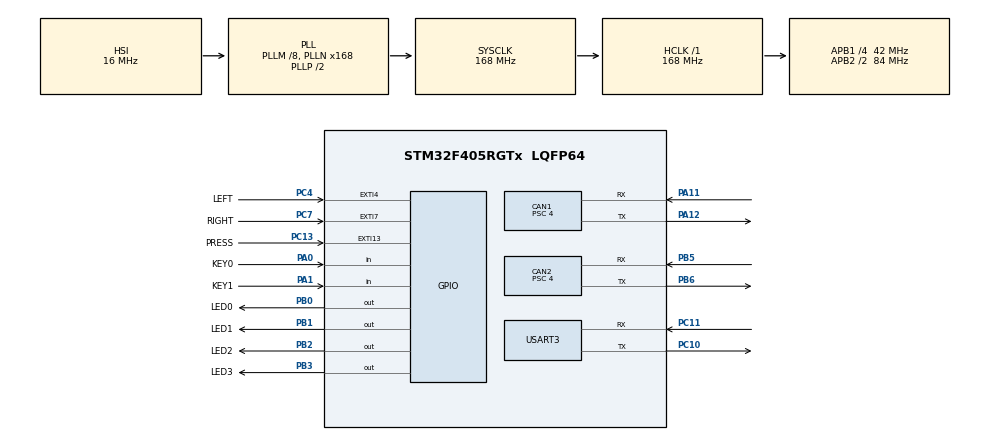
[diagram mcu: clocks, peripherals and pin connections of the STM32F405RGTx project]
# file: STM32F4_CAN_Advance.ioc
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CAN1.BS1=CAN_BS1_16TQ
CAN1.BS2=CAN_BS2_4TQ
CAN1.CalculateBaudRate=500000
CAN1.CalculateTimeBit=2000
CAN1.CalculateTimeQuantum=95.23809523809524
CAN1.Prescaler=4
CAN1.SJW=CAN_SJW_2TQ
CAN2.BS1=CAN_BS1_16TQ
CAN2.BS2=CAN_BS2_4TQ
CAN2.CalculateBaudRate=500000
CAN2.CalculateTimeBit=2000
CAN2.CalculateTimeQuantum=95.23809523809524
CAN2.Prescaler=4
CAN2.SJW=CAN_SJW_2TQ
FREERTOS.Tasks01=defaultTask,24,128,StartDefaultTask,Default,NULL,Dynamic,NULL,NULL;CAN_Tester_Task,24,128,CAN_Tester,Default,NULL,Dynamic,NULL,NULL;CAN_ECU_Task,40,128,CAN_ECU,Default,NULL,Dynamic,NULL,NULL
Mcu.Family=STM32F4
Mcu.Name=STM32F405RGTx
Mcu.Package=LQFP64
NVIC.CAN1_RX0_IRQn=true\:5\:0\:false\:false\:true\:true\:true\:true\:true
NVIC.CAN2_RX1_IRQn=true\:5\:0\:false\:false\:true\:true\:true\:true\:true
NVIC.EXTI4_IRQn=true\:5\:0\:false\:false\:true\:true\:true\:true\:true
NVIC.EXTI9_5_IRQn=true\:5\:0\:false\:false\:true\:true\:true\:true\:true
NVIC.PriorityGroup=NVIC_PRIORITYGROUP_4
NVIC.TIM3_IRQn=true\:5\:0\:false\:false\:true\:true\:true\:true\:true
NVIC.USART3_IRQn=true\:5\:0\:false\:false\:true\:true\:true\:true\:true
PA0-WKUP.GPIO_Label=KEY0
PA0-WKUP.Signal=GPIO_Input
PA1.GPIO_Label=KEY1
PA1.Signal=GPIO_Input
PA11.Mode=CAN_Activate
PA11.Signal=CAN1_RX
PA12.Mode=CAN_Activate
PA12.Signal=CAN1_TX
PB0.GPIO_Label=LED0
PB0.Signal=GPIO_Output
PB1.GPIO_Label=LED1
PB1.Signal=GPIO_Output
PB2.GPIO_Label=LED2
PB2.Signal=GPIO_Output
PB3.GPIO_Label=LED3
PB3.Signal=GPIO_Output
PB5.Mode=CAN_Activate
PB5.Signal=CAN2_RX
PB6.Mode=CAN_Activate
PB6.Signal=CAN2_TX
PC10.Mode=Asynchronous
PC10.Signal=USART3_TX
PC11.Mode=Asynchronous
PC11.Signal=USART3_RX
PC13-ANTI_TAMP.GPIO_Label=PRESS
PC13-ANTI_TAMP.GPIO_ModeDefaultEXTI=GPIO_MODE_IT_FALLING
PC13-ANTI_TAMP.GPIO_PuPd=GPIO_PULLUP
PC13-ANTI_TAMP.Signal=GPXTI13
PC14-OSC32_IN.Mode=LSE-External-Oscillator
PC14-OSC32_IN.Signal=RCC_OSC32_IN
PC15-OSC32_OUT.Mode=LSE-External-Oscillator
PC15-OSC32_OUT.Signal=RCC_OSC32_OUT
PC4.GPIO_Label=LEFT
PC4.GPIO_ModeDefaultEXTI=GPIO_MODE_IT_FALLING
PC4.GPIO_PuPd=GPIO_PULLUP
PC4.Signal=GPXTI4
PC7.GPIO_Label=RIGHT
PC7.GPIO_ModeDefaultEXTI=GPIO_MODE_IT_FALLING
PC7.GPIO_PuPd=GPIO_PULLUP
PC7.Signal=GPXTI7
PH0-OSC_IN.Mode=HSE-External-Oscillator
PH0-OSC_IN.Signal=RCC_OSC_IN
PH1-OSC_OUT.Mode=HSE-External-Oscillator
PH1-OSC_OUT.Signal=RCC_OSC_OUT
ProjectManager.HeapSize=0x200
ProjectManager.StackSize=0x400
ProjectManager.TargetToolchain=STM32CubeIDE
RCC.48MHZClocksFreq_Value=84000000
RCC.AHBFreq_Value=168000000
RCC.APB1CLKDivider=RCC_HCLK_DIV4
RCC.APB1Freq_Value=42000000
RCC.APB1TimFreq_Value=84000000
RCC.APB2CLKDivider=RCC_HCLK_DIV2
RCC.APB2Freq_Value=84000000
RCC.APB2TimFreq_Value=168000000
RCC.CortexFreq_Value=168000000
RCC.HCLKFreq_Value=168000000
RCC.HSE_VALUE=8000000
RCC.HSI_VALUE=16000000
RCC.PLLM=8
RCC.PLLN=168
RCC.SYSCLKFreq_VALUE=168000000
RCC.SYSCLKSource=RCC_SYSCLKSOURCE_PLLCLK
RCC.VCOOutputFreq_Value=336000000
TIM3.AutoReloadPreload=TIM_AUTORELOAD_PRELOAD_ENABLE
TIM3.Period=10000
TIM3.Prescaler=16799
USART3.VirtualMode=VM_ASYNC
VP_FREERTOS_VS_CMSIS_V2.Mode=CMSIS_V2
VP_TIM3_VS_ClockSourceINT.Mode=Internal
board=custom

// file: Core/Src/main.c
/* USER CODE BEGIN Header */
/**
  ******************************************************************************
  * @file           : main.c
  * @brief          : Main program body
  ******************************************************************************
  * @attention
  *
  * Copyright (c) 2022 STMicroelectronics.
  * All rights reserved.
  *
  * This software is licensed under terms that can be found in the LICENSE file
  * in the root directory of this software component.
  * If no LICENSE file comes with this software, it is provided AS-IS.
  *
  ******************************************************************************
  */
/* USER CODE END Header */
#include "main.h"
#include "cmsis_os.h"

/* USER CODE BEGIN Includes */
#include <stdio.h>
#include <string.h>
/* USER CODE END Includes */

/* USER CODE BEGIN PD */
uint8_t Empty;

#define ReadDatabyIdentifier 0x22
#define WriteDatabyIdentifier 0x2e
#define HexaMessage 0
#define HelloMessage 1
#define RequestMessage 2

/* USER CODE END PD */

/* USER CODE BEGIN PM */
CAN_TxHeaderTypeDef Node1_TxHeader;
CAN_RxHeaderTypeDef Node1_RxHeader;

uint8_t Node1_TxData[8];
uint8_t Node1_RxData[8];

uint32_t Node1_TxMailbox;

CAN_TxHeaderTypeDef Node2_TxHeader;
CAN_RxHeaderTypeDef Node2_RxHeader;

uint8_t Node2_TxData[8];
uint8_t Node2_RxData[8];

uint32_t Node2_TxMailbox;

uint8_t Node2_Data[6] = "Hello!";

CAN_TxHeaderTypeDef Request_TxHeader;
uint8_t Request_TxData;
/* USER CODE END PM */

CAN_HandleTypeDef hcan1;
CAN_HandleTypeDef hcan2;

TIM_HandleTypeDef htim3;

UART_HandleTypeDef huart3;

/* Definitions for defaultTask */
osThreadId_t defaultTaskHandle;
const osThreadAttr_t defaultTask_attributes = {
  .name = "defaultTask",
  .stack_size = 128 * 4,
  .priority = (osPriority_t) osPriorityNormal,
};
/* Definitions for CAN_Tester_Task */
osThreadId_t CAN_Tester_TaskHandle;
const osThreadAttr_t CAN_Tester_Task_attributes = {
  .name = "CAN_Tester_Task",
  .stack_size = 128 * 4,
  .priority = (osPriority_t) osPriorityNormal,
};
/* Definitions for CAN_ECU_Task */
osThreadId_t CAN_ECU_TaskHandle;
const osThreadAttr_t CAN_ECU_Task_attributes = {
  .name = "CAN_ECU_Task",
  .stack_size = 128 * 4,
  .priority = (osPriority_t) osPriorityHigh,
};

void SystemClock_Config(void);
static void MX_GPIO_Init(void);
static void MX_CAN1_Init(void);
static void MX_CAN2_Init(void);
static void MX_TIM3_Init(void);
static void MX_USART3_UART_Init(void);
void StartDefaultTask(void *argument);
void CAN_Tester(void *argument);
void CAN_ECU(void *argument);

/* USER CODE BEGIN PFP */
#ifdef __GNUC__
/* With GCC/RAISONANCE, small printf (option LD Linker->Libraries->Small printf
 set to 'Yes') calls __io_putchar() */
#define PUTCHAR_PROTOTYPE int __io_putchar(int ch)
#else
 #define PUTCHAR_PROTOTYPE int fputc(int ch, FILE *f)
#endif /* __GNUC__ */
/* USER CODE END PFP */

/* USER CODE BEGIN 0 */
void HAL_CAN_RxFifo0MsgPendingCallback(CAN_HandleTypeDef *hcan)
{
  HAL_GPIO_WritePin(LED1_GPIO_Port, LED1_Pin, GPIO_PIN_SET);
  HAL_CAN_GetRxMessage(hcan, CAN_RX_FIFO0, &Node1_RxHeader, Node1_RxData);
  if (Node1_RxHeader.DLC == 8)
  {
    printf("Node1 get data: %s\r\n", Node1_RxData);
    HAL_GPIO_WritePin(LED1_GPIO_Port, LED1_Pin, GPIO_PIN_RESET);
  }
}

void HAL_CAN_RxFifo1MsgPendingCallback(CAN_HandleTypeDef *hcan)
{
  HAL_GPIO_WritePin(LED2_GPIO_Port, LED2_Pin, GPIO_PIN_SET);
  HAL_CAN_GetRxMessage(hcan, CAN_RX_FIFO1, &Node2_RxHeader, Node2_RxData);
  if (Node2_RxHeader.DLC == 8)
  {
	  if(Node2_RxData[0] == ReadDatabyIdentifier)
	  {
		  if(Node2_RxData[7] == HelloMessage)
		  {
			printf("%s", Node2_Data);
		  }
		  else
		{
			for(int i=0; i< 6; i++)
			{
				printf("%x ", Node2_Data[i]);
			}
		}
		printf("\r\n");
	  }

	  if(Node2_RxData[0] == WriteDatabyIdentifier)
	  {
		  for(int i=1; i< 7; i++)
		  {
			  Node2_Data[i - 1] = Node2_RxData[i];
		  }
	  }
    HAL_GPIO_WritePin(LED2_GPIO_Port, LED2_Pin, GPIO_PIN_RESET);
  }
}

void HAL_TIM_PeriodElapsedCallback(TIM_HandleTypeDef *htim)
{
	UNUSED(htim);
	HAL_GPIO_TogglePin(LED0_GPIO_Port, LED0_Pin);
	Node1_TxData[0] = ReadDatabyIdentifier;
	HAL_CAN_AddTxMessage(&hcan1, &Node1_TxHeader, Node1_TxData,
				  &Node1_TxMailbox);
}

void HAL_GPIO_EXTI_Callback(uint16_t GPIO_Pin)
{
  if(GPIO_Pin == LEFT_Pin)
  {
	  Node1_TxData[0] = WriteDatabyIdentifier;
	  Node1_TxData[1] = 0xaa;
	  Node1_TxData[2] = 0xaa;
	  Node1_TxData[3] = 0xaa;
	  Node1_TxData[4] = 0xaa;
	  Node1_TxData[5] = 0xaa;
	  Node1_TxData[6] = 0xaa;
	  Node1_TxData[7] = HexaMessage;
	  HAL_CAN_AddTxMessage(&hcan1, &Node1_TxHeader, Node1_TxData,
	  				  &Node1_TxMailbox);
  }else if(GPIO_Pin == RIGHT_Pin)
  {
	  Node1_TxData[0] = WriteDatabyIdentifier;
	  Node1_TxData[1] = 0xff;
	  Node1_TxData[2] = 0xff;
	  Node1_TxData[3] = 0xff;
	  Node1_TxData[4] = 0xff;
	  Node1_TxData[5] = 0xff;
	  Node1_TxData[6] = 0xff;
	  Node1_TxData[7] = HexaMessage;
	  HAL_CAN_AddTxMessage(&hcan1, &Node1_TxHeader, Node1_TxData,
					  &Node1_TxMailbox);
  }else if(GPIO_Pin == PRESS_Pin)
  {
	  Node1_TxData[0] = WriteDatabyIdentifier;
	  Node1_TxData[1] = 0x00;
	  Node1_TxData[2] = 0x00;
	  Node1_TxData[3] = 0x00;
	  Node1_TxData[4] = 0x00;
	  Node1_TxData[5] = 0x00;
	  Node1_TxData[6] = 0x00;
	  Node1_TxData[7] = HexaMessage;
	  HAL_CAN_AddTxMessage(&hcan1, &Node1_TxHeader, Node1_TxData,
					  &Node1_TxMailbox);
  }
}
/* USER CODE END 0 */

int main(void)
{

  /* MCU Configuration--------------------------------------------------------*/

  /* Reset of all peripherals, Initializes the Flash interface and the Systick. */
  HAL_Init();

  /* Configure the system clock */
  SystemClock_Config();

  /* Initialize all configured peripherals */
  MX_GPIO_Init();
  MX_CAN1_Init();
  MX_CAN2_Init();
  MX_TIM3_Init();
  MX_USART3_UART_Init();
  /* USER CODE BEGIN 2 */
  HAL_CAN_Start(&hcan1);
    HAL_CAN_Start(&hcan2);

    // Activate the notification
    HAL_CAN_ActivateNotification(&hcan1, CAN_IT_RX_FIFO0_MSG_PENDING);
    // Activate the notification
    HAL_CAN_ActivateNotification(&hcan2, CAN_IT_RX_FIFO1_MSG_PENDING);

    Node1_TxHeader.DLC = 8;  // data length
    Node1_TxHeader.IDE = CAN_ID_STD;
    Node1_TxHeader.RTR = CAN_RTR_DATA;
    Node1_TxHeader.StdId = 0x555;  // ID

    Node1_TxData[0] = 0x00;
    Node1_TxData[1] = 'H';
    Node1_TxData[2] = 'e';
    Node1_TxData[3] = 'l';
    Node1_TxData[4] = 'l';
    Node1_TxData[5] = 'o';
    Node1_TxData[6] = '!';
    Node1_TxData[7] = HelloMessage;

    Node2_TxHeader.DLC = 8;  // data length
    Node2_TxHeader.IDE = CAN_ID_STD;
    Node2_TxHeader.RTR = CAN_RTR_DATA;
    Node2_TxHeader.StdId = 0x2AA;  // ID

    Node2_TxData[0] = 'N';
    Node2_TxData[1] = '0';
    Node2_TxData[2] = '0';
    Node2_TxData[3] = 'b';
    Node2_TxData[4] = 'B';
    Node2_TxData[5] = 'y';
    Node2_TxData[6] = 'e';
    Node2_TxData[7] = '!';

    Request_TxHeader.DLC = 1;  // data length
	Request_TxHeader.IDE = CAN_ID_STD;
	Request_TxHeader.RTR = CAN_RTR_DATA;
	Request_TxHeader.StdId = 0x555;  // ID

	Request_TxData = 0x00;

	HAL_TIM_Base_Start_IT(&htim3);
  /* USER CODE END 2 */

  /* Init scheduler */
  osKernelInitialize();

  /* Create the thread(s) */
  /* creation of defaultTask */
  defaultTaskHandle = osThreadNew(StartDefaultTask, NULL, &defaultTask_attributes);

  /* creation of CAN_Tester_Task */
  CAN_Tester_TaskHandle = osThreadNew(CAN_Tester, NULL, &CAN_Tester_Task_attributes);

  /* creation of CAN_ECU_Task */
  CAN_ECU_TaskHandle = osThreadNew(CAN_ECU, NULL, &CAN_ECU_Task_attributes);

  /* Start scheduler */
  osKernelStart();

  /* We should never get here as control is now taken by the scheduler */
  /* Infinite loop */
  /* USER CODE BEGIN WHILE */
  while (1)
  {
//	  HAL_GPIO_TogglePin(LED1_GPIO_Port, LED0_Pin);
//	      HAL_CAN_AddTxMessage(&hcan1, &Node1_TxHeader, Node1_TxData,
//	          &Node1_TxMailbox);
//	      HAL_CAN_AddTxMessage(&hcan2, &Node2_TxHeader, Node2_TxData,
//	          &Node2_TxMailbox);
	      HAL_Delay(500);
    /* USER CODE END WHILE */

  }
}

void SystemClock_Config(void)
{
  RCC_OscInitTypeDef RCC_OscInitStruct = {0};
  RCC_ClkInitTypeDef RCC_ClkInitStruct = {0};

  /** Configure the main internal regulator output voltage
  */
  __HAL_RCC_PWR_CLK_ENABLE();
  __HAL_PWR_VOLTAGESCALING_CONFIG(PWR_REGULATOR_VOLTAGE_SCALE1);

  /** Initializes the RCC Oscillators according to the specified parameters
  * in the RCC_OscInitTypeDef structure.
  */
  RCC_OscInitStruct.OscillatorType = RCC_OSCILLATORTYPE_HSI;
  RCC_OscInitStruct.HSIState = RCC_HSI_ON;
  RCC_OscInitStruct.HSICalibrationValue = RCC_HSICALIBRATION_DEFAULT;
  RCC_OscInitStruct.PLL.PLLState = RCC_PLL_ON;
  RCC_OscInitStruct.PLL.PLLSource = RCC_PLLSOURCE_HSI;
  RCC_OscInitStruct.PLL.PLLM = 8;
  RCC_OscInitStruct.PLL.PLLN = 168;
  RCC_OscInitStruct.PLL.PLLP = RCC_PLLP_DIV2;
  RCC_OscInitStruct.PLL.PLLQ = 4;
  if (HAL_RCC_OscConfig(&RCC_OscInitStruct) != HAL_OK)
  {
    Error_Handler();
  }

  /** Initializes the CPU, AHB and APB buses clocks
  */
  RCC_ClkInitStruct.ClockType = RCC_CLOCKTYPE_HCLK|RCC_CLOCKTYPE_SYSCLK
                              |RCC_CLOCKTYPE_PCLK1|RCC_CLOCKTYPE_PCLK2;
  RCC_ClkInitStruct.SYSCLKSource = RCC_SYSCLKSOURCE_PLLCLK;
  RCC_ClkInitStruct.AHBCLKDivider = RCC_SYSCLK_DIV1;
  RCC_ClkInitStruct.APB1CLKDivider = RCC_HCLK_DIV4;
  RCC_ClkInitStruct.APB2CLKDivider = RCC_HCLK_DIV2;

  if (HAL_RCC_ClockConfig(&RCC_ClkInitStruct, FLASH_LATENCY_5) != HAL_OK)
  {
    Error_Handler();
  }
}

static void MX_CAN1_Init(void)
{

  hcan1.Instance = CAN1;
  hcan1.Init.Prescaler = 4;
  hcan1.Init.Mode = CAN_MODE_NORMAL;
  hcan1.Init.SyncJumpWidth = CAN_SJW_2TQ;
  hcan1.Init.TimeSeg1 = CAN_BS1_16TQ;
  hcan1.Init.TimeSeg2 = CAN_BS2_4TQ;
  hcan1.Init.TimeTriggeredMode = DISABLE;
  hcan1.Init.AutoBusOff = DISABLE;
  hcan1.Init.AutoWakeUp = DISABLE;
  hcan1.Init.AutoRetransmission = DISABLE;
  hcan1.Init.ReceiveFifoLocked = DISABLE;
  hcan1.Init.TransmitFifoPriority = DISABLE;
  if (HAL_CAN_Init(&hcan1) != HAL_OK)
  {
    Error_Handler();
  }
  /* USER CODE BEGIN CAN1_Init 2 */
  	CAN_FilterTypeDef canfilterconfig;

    canfilterconfig.FilterActivation = CAN_FILTER_ENABLE;
    canfilterconfig.FilterBank = 18; // which filter bank to use from the assigned ones
    canfilterconfig.FilterFIFOAssignment = CAN_FILTER_FIFO0;
    canfilterconfig.FilterIdHigh = 0x2AA << 5;
    canfilterconfig.FilterIdLow = 0;
    canfilterconfig.FilterMaskIdHigh = 0x2AA << 5;
    canfilterconfig.FilterMaskIdLow = 0x0000;
    canfilterconfig.FilterMode = CAN_FILTERMODE_IDMASK;
    canfilterconfig.FilterScale = CAN_FILTERSCALE_32BIT;
    canfilterconfig.SlaveStartFilterBank = 20; // how many filters to assign to the CAN1 (master can)

    HAL_CAN_ConfigFilter(&hcan1, &canfilterconfig);
  /* USER CODE END CAN1_Init 2 */

}

static void MX_CAN2_Init(void)
{

  hcan2.Instance = CAN2;
  hcan2.Init.Prescaler = 4;
  hcan2.Init.Mode = CAN_MODE_NORMAL;
  hcan2.Init.SyncJumpWidth = CAN_SJW_2TQ;
  hcan2.Init.TimeSeg1 = CAN_BS1_16TQ;
  hcan2.Init.TimeSeg2 = CAN_BS2_4TQ;
  hcan2.Init.TimeTriggeredMode = DISABLE;
  hcan2.Init.AutoBusOff = DISABLE;
  hcan2.Init.AutoWakeUp = DISABLE;
  hcan2.Init.AutoRetransmission = DISABLE;
  hcan2.Init.ReceiveFifoLocked = DISABLE;
  hcan2.Init.TransmitFifoPriority = DISABLE;
  if (HAL_CAN_Init(&hcan2) != HAL_OK)
  {
    Error_Handler();
  }
  /* USER CODE BEGIN CAN2_Init 2 */
  CAN_FilterTypeDef canfilterconfig;

  canfilterconfig.FilterActivation = CAN_FILTER_ENABLE;
  canfilterconfig.FilterBank = 10; // which filter bank to use from the assigned ones
  canfilterconfig.FilterFIFOAssignment = CAN_FILTER_FIFO1;
  canfilterconfig.FilterIdHigh = 0x555 << 5;
  canfilterconfig.FilterIdLow = 0;
  canfilterconfig.FilterMaskIdHigh = 0x555 << 5;
  canfilterconfig.FilterMaskIdLow = 0x0000;
  canfilterconfig.FilterMode = CAN_FILTERMODE_IDMASK;
  canfilterconfig.FilterScale = CAN_FILTERSCALE_32BIT;
  canfilterconfig.SlaveStartFilterBank = 0; // doesn't matter in single can controllers

  HAL_CAN_ConfigFilter(&hcan2, &canfilterconfig);
  /* USER CODE END CAN2_Init 2 */

}

static void MX_TIM3_Init(void)
{

  TIM_ClockConfigTypeDef sClockSourceConfig = {0};
  TIM_MasterConfigTypeDef sMasterConfig = {0};

  htim3.Instance = TIM3;
  htim3.Init.Prescaler = 16799;
  htim3.Init.CounterMode = TIM_COUNTERMODE_UP;
  htim3.Init.Period = 10000;
  htim3.Init.ClockDivision = TIM_CLOCKDIVISION_DIV1;
  htim3.Init.AutoReloadPreload = TIM_AUTORELOAD_PRELOAD_ENABLE;
  if (HAL_TIM_Base_Init(&htim3) != HAL_OK)
  {
    Error_Handler();
  }
  sClockSourceConfig.ClockSource = TIM_CLOCKSOURCE_INTERNAL;
  if (HAL_TIM_ConfigClockSource(&htim3, &sClockSourceConfig) != HAL_OK)
  {
    Error_Handler();
  }
  sMasterConfig.MasterOutputTrigger = TIM_TRGO_RESET;
  sMasterConfig.MasterSlaveMode = TIM_MASTERSLAVEMODE_DISABLE;
  if (HAL_TIMEx_MasterConfigSynchronization(&htim3, &sMasterConfig) != HAL_OK)
  {
    Error_Handler();
  }

}

static void MX_USART3_UART_Init(void)
{

  huart3.Instance = USART3;
  huart3.Init.BaudRate = 115200;
  huart3.Init.WordLength = UART_WORDLENGTH_8B;
  huart3.Init.StopBits = UART_STOPBITS_1;
  huart3.Init.Parity = UART_PARITY_NONE;
  huart3.Init.Mode = UART_MODE_TX_RX;
  huart3.Init.HwFlowCtl = UART_HWCONTROL_NONE;
  huart3.Init.OverSampling = UART_OVERSAMPLING_16;
  if (HAL_UART_Init(&huart3) != HAL_OK)
  {
    Error_Handler();
  }

}

static void MX_GPIO_Init(void)
{
  GPIO_InitTypeDef GPIO_InitStruct = {0};

  /* GPIO Ports Clock Enable */
  __HAL_RCC_GPIOC_CLK_ENABLE();
  __HAL_RCC_GPIOH_CLK_ENABLE();
  __HAL_RCC_GPIOA_CLK_ENABLE();
  __HAL_RCC_GPIOB_CLK_ENABLE();

  /*Configure GPIO pin Output Level */
  HAL_GPIO_WritePin(GPIOB, LED0_Pin|LED1_Pin|LED2_Pin|LED3_Pin, GPIO_PIN_RESET);

  /*Configure GPIO pins : PRESS_Pin LEFT_Pin RIGHT_Pin */
  GPIO_InitStruct.Pin = PRESS_Pin|LEFT_Pin|RIGHT_Pin;
  GPIO_InitStruct.Mode = GPIO_MODE_IT_FALLING;
  GPIO_InitStruct.Pull = GPIO_PULLUP;
  HAL_GPIO_Init(GPIOC, &GPIO_InitStruct);

  /*Configure GPIO pins : KEY0_Pin KEY1_Pin */
  GPIO_InitStruct.Pin = KEY0_Pin|KEY1_Pin;
  GPIO_InitStruct.Mode = GPIO_MODE_INPUT;
  GPIO_InitStruct.Pull = GPIO_NOPULL;
  HAL_GPIO_Init(GPIOA, &GPIO_InitStruct);

  /*Configure GPIO pins : LED0_Pin LED1_Pin LED2_Pin LED3_Pin */
  GPIO_InitStruct.Pin = LED0_Pin|LED1_Pin|LED2_Pin|LED3_Pin;
  GPIO_InitStruct.Mode = GPIO_MODE_OUTPUT_PP;
  GPIO_InitStruct.Pull = GPIO_NOPULL;
  GPIO_InitStruct.Speed = GPIO_SPEED_FREQ_LOW;
  HAL_GPIO_Init(GPIOB, &GPIO_InitStruct);

  /* EXTI interrupt init*/
  HAL_NVIC_SetPriority(EXTI4_IRQn, 5, 0);
  HAL_NVIC_EnableIRQ(EXTI4_IRQn);

  HAL_NVIC_SetPriority(EXTI9_5_IRQn, 5, 0);
  HAL_NVIC_EnableIRQ(EXTI9_5_IRQn);

}

/* USER CODE BEGIN 4 */
PUTCHAR_PROTOTYPE
{
  /* Place your implementation of fputc here */
  /* e.g. write a character to the USART */
  HAL_UART_Transmit(&huart3, (uint8_t*) &ch, 1, 100);
  return ch;
}
/* USER CODE END 4 */

void StartDefaultTask(void *argument)
{
  /* USER CODE BEGIN 5 */
  /* Infinite loop */
  for(;;)
  {
//	HAL_GPIO_TogglePin(LED1_GPIO_Port, LED0_Pin);
//	HAL_CAN_AddTxMessage(&hcan1, &Node1_TxHeader, Node1_TxData,
//	  &Node1_TxMailbox);
//	HAL_CAN_AddTxMessage(&hcan2, &Node2_TxHeader, Node2_TxData,
//	  &Node2_TxMailbox);

	HAL_Delay(500);
    osDelay(1);
  }
  /* USER CODE END 5 */
}

void CAN_Tester(void *argument)
{
  for(;;)
  {
    osDelay(1);
  }
}

void CAN_ECU(void *argument)
{
  for(;;)
  {
    osDelay(1);
  }
}

void Error_Handler(void)
{
  __disable_irq();
  while (1)
  {
  }
}
